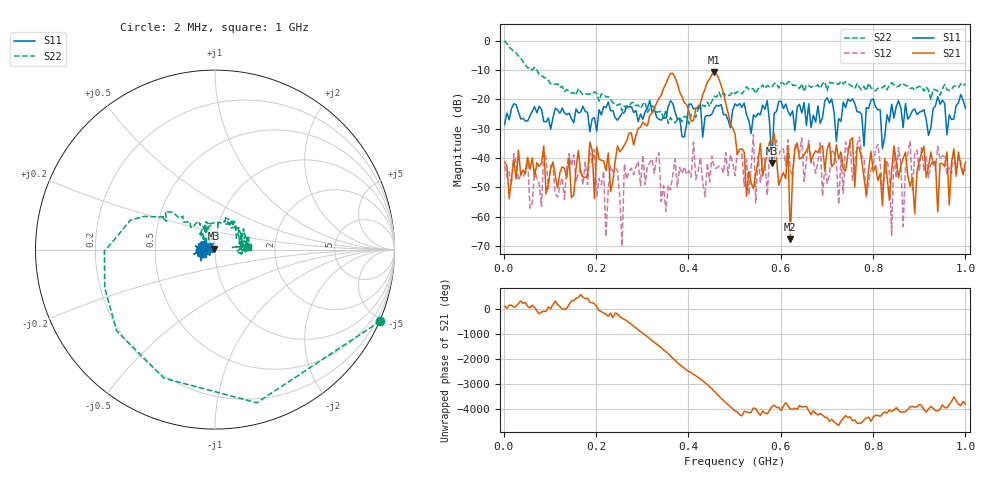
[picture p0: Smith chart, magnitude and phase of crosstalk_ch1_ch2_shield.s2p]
!Keysight Technologies N9923A: A.12.45
!Date: Friday, 10 October 2025 02:27:59
!Timezone: (UTC+08:00) Kuala Lumpur, Singapore
!Model: N9923A
!Serial: MY61181427
!GPS Latitude:
!GPS Longitude:
!GPS TimeStamp: 0001-01-01 00:00:00Z
!GPS Seconds Since Last Read: 0
!CHECKSUM:1703529091
!Correction: S11(ON U?)S21(ON U?)S12(ON U?)S22(ON U?)
!S2P File: Measurements:S11,S21,S12,S22:
# Hz S DB R 50
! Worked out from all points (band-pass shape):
!   201 points, 2 MHz to 1 GHz, reference 50 ohm
!   highest |S21| = -10.89 dB at 456.1 MHz (marker M1); lowest = -67.7 dB at 620.8 MHz (marker M2)
!   |S21| within 3 dB of the highest: 353.5 MHz to 374.2 MHz (20.69 MHz wide, 5.69 % of centre); 442.3 MHz to 467.9 MHz (25.66 MHz wide, 5.64 % of centre)
!   lowest |S11| = -41.7 dB at 580.8 MHz (marker M3), VSWR 1.02, Z = 49.4 + j0.555 ohm
!   |S11| at or under -10 dB: start of sweep to end of sweep
!   |S22| runs from -28.4 to 0.0 dB; largest |S21 - S12| = 0.28
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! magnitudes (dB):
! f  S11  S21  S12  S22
! 2 MHz  -28.7  -41.4  -42.7  0.0
! 171.7 MHz  -22.4  -46.5  -49.2  -18.4
! 196.6 MHz  -26.3  -53.9  -37.1  -17.5
! 221.6 MHz  -22.9  -44.4  -66.8  -19.2
! 246.5 MHz  -27.2  -35.9  -44.3  -22.1
! 256.5 MHz  -24.8  -36.9  -70.1  -24.1
! 261.5 MHz  -24.5  -35.7  -42.0  -22.3
! 336.3 MHz  -26.8  -19.7  -38.3  -24.3
! 456.1 MHz  -23.2  -10.9  -43.5  -19.0
! 501 MHz  -21.6  -31.8  -46.1  -18.1
! 526 MHz  -25.3  -53.1  -40.6  -15.8
! 580.8 MHz  -41.7  -34.7  -38.0  -15.9
! 615.8 MHz  -24.1  -36.0  -33.8  -14.1
! 620.8 MHz  -25.6  -67.7  -44.0  -14.0
! 630.7 MHz  -30.7  -36.9  -35.5  -15.3
! 670.7 MHz  -25.5  -39.0  -40.9  -15.6
! 835.3 MHz  -27.8  -54.5  -45.0  -15.1
! 840.3 MHz  -21.7  -44.2  -66.4  -14.4
! 845.3 MHz  -26.4  -35.9  -37.8  -15.0
! 865.3 MHz  -29.7  -40.1  -63.4  -14.7
! 880.2 MHz  -25.7  -49.7  -34.1  -16.4
! 1 GHz  -23.0  -41.6  -43.8  -14.7
